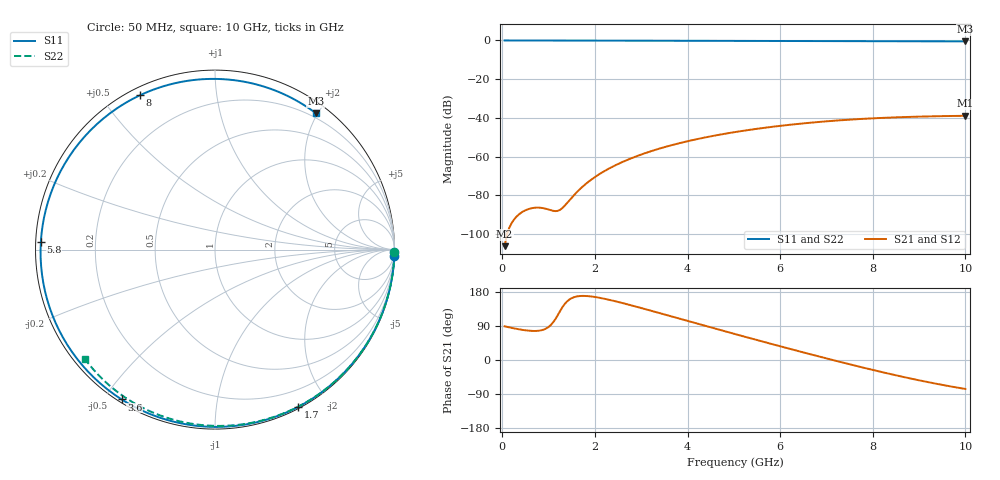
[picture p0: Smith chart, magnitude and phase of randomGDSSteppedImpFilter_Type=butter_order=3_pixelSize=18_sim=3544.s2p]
! freq	dB(S11)	phase(S11)	dB(S12)	phase(S12)
!  dB(S21)	phase(S21)	dB(S22)	phase(S22)
!S-par simulation data
#  GHz  S  DB  R 50
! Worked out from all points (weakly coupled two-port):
!   200 points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, 50 MHz to 10 GHz, reference 50 ohm
!   highest |S21| = -38.88 dB at 10 GHz (marker M1); lowest = -106.2 dB at 50 MHz (marker M2)
!   lowest |S11| = -0.5 dB at 10 GHz (marker M3), VSWR 35.27, Z = 6.95 + j98.6 ohm
!   |S11| at or under -10 dB: nowhere
!   |S22| runs from -0.5 to 0.0 dB; largest |S21 - S12| = 0
!   S11 on the Smith chart (normalised r, x): 50 MHz: 0, -60; 1.7 GHz: 0.02, -1.66; 3.6 GHz: 0.01, -0.55; 5.8 GHz: 0.01, +0.02; 8 GHz: 0.03, +0.63; 10 GHz: 0.14, +1.97
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0.05  -0.00 -1.9  -106.15 88.8  -106.15 88.8  -0.00 -0.8
0.7  -0.03 -26.2  -86.32 76.6  -86.32 76.6  -0.01 -11.3
1.1  -0.05 -40.9  -87.93 99.7  -87.93 99.7  -0.02 -17.7
1.5  -0.07 -55.1  -81.08 163.3  -81.08 163.3  -0.03 -24.0
1.55  -0.07 -56.9  -79.76 165.8  -79.76 165.8  -0.03 -24.8
1.7  -0.08 -62.1  -76.17 169.0  -76.17 169.0  -0.03 -27.1
1.75  -0.08 -63.8  -75.10 169.2  -75.10 169.2  -0.04 -27.9
2.05  -0.09 -73.9  -69.70 165.3  -69.70 165.3  -0.04 -32.6
2.45  -0.10 -87.0  -64.32 154.7  -64.32 154.7  -0.05 -38.7
2.9  -0.12 -101.1  -59.73 140.5  -59.73 140.5  -0.06 -45.6
3.4  -0.14 -116.1  -55.76 123.7  -55.76 123.7  -0.07 -53.1
3.6  -0.14 -121.9  -54.40 116.9  -54.40 116.9  -0.08 -56.0
4.35  -0.18 -143.1  -50.19 91.3  -50.19 91.3  -0.10 -66.9
5.05  -0.21 -162.2  -47.17 67.6  -47.17 67.6  -0.12 -76.7
5.8  -0.25 177.6  -44.64 42.8  -44.64 42.8  -0.15 -86.9
6.7  -0.31 153.1  -42.34 13.7  -42.34 13.7  -0.19 -98.8
7.35  -0.35 134.8  -41.10 -6.7  -41.10 -6.7  -0.23 -107.1
8  -0.39 115.9  -40.18 -26.2  -40.18 -26.2  -0.28 -115.3
8.35  -0.41 105.4  -39.81 -36.2  -39.81 -36.2  -0.31 -119.7
9.15  -0.45 80.6  -39.22 -57.3  -39.22 -57.3  -0.38 -129.5
9.55  -0.47 67.9  -39.03 -66.8  -39.03 -66.8  -0.42 -134.4
10  -0.49 53.6  -38.88 -76.4  -38.88 -76.4  -0.47 -139.9
